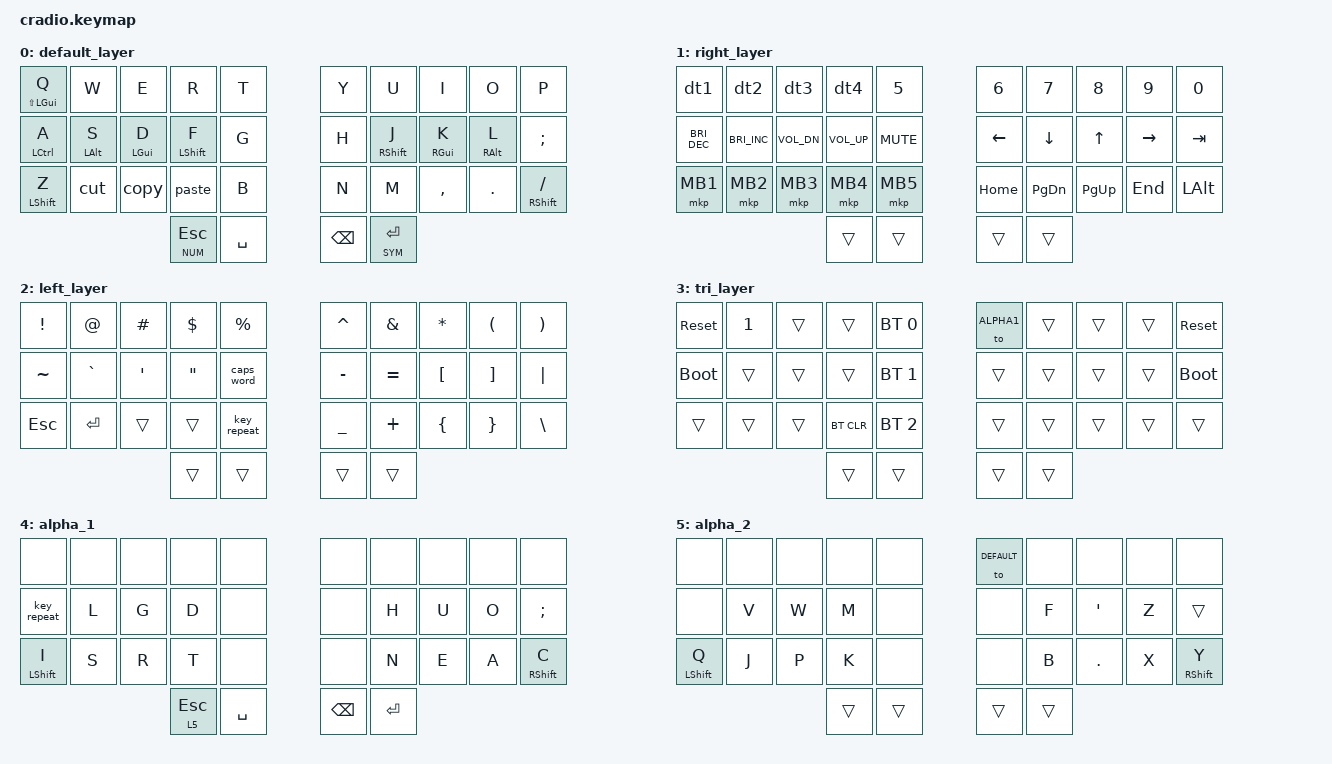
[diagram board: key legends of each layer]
// Copyright (c) 2022 The ZMK Contributors
// SPDX-License-Identifier: MIT

#include <dt-bindings/zmk/mouse.h>
#include <behaviors.dtsi>
#include <dt-bindings/zmk/bt.h>
#include <dt-bindings/zmk/keys.h>
#include <dt-bindings/zmk/pointing.h>

/* Layers */

#define DEFAULT 0
#define NUM 1
#define SYM 2
#define SETTING 3
#define ALPHA1 4
#define ALPHA2 5

// Home row mods macro

#define HRML(k1,k2,k3,k4) &ht LSHFT k1  &ht LALT k2  &ht LCTRL k3  &ht LGUI k4
#define HRMR(k1,k2,k3,k4) &ht RGUI k1  &ht RCTRL k2  &ht RALT k3  &ht RSHFT k4

/ {
    combos {
        // 0  1  2  3  4  ||  5  6  7  8  9
        // 10 11 12 13 14 || 15 16 17 18 19
        // 20 21 22 23 24 || 25 26 27 28 29

        compatible = "zmk,combos";

        combo_esc {
            timeout-ms = <50>;
            key-positions = <16 17>;
            bindings = <&kp ESC>;
        };

        combo_nuke_line {
            timeout-ms = <50>;
            key-positions = <25 26>;
            bindings = <&kp LG(BSPC)>;
        };

        combo_nuke_word {
            timeout-ms = <50>;
            key-positions = <26 27>;
            bindings = <&kp LA(BSPC)>;
        };

        combo_sl_1 {
            timeout-ms = <50>;
            key-positions = <13 14>;
            bindings = <&sl 1>;
        };

        combo_sl_2 {
            timeout-ms = <50>;
            key-positions = <15 16>;
            bindings = <&sl 2>;
        };

        combo_repeat_key {
            timeout-ms = <50>;
            key-positions = <12 13>;
            bindings = <&key_repeat>;
        };
    };

    behaviors {
        ht: hold_tap {
            compatible = "zmk,behavior-hold-tap";
            #binding-cells = <2>;
            flavor = "tap-preferred";
            tapping-term-ms = <250>;
            quick-tap-ms = <150>;
            require-prior-idle-ms = <100>;
            bindings = <&kp>, <&kp>;
        };

        bhm: balanced_homerow_mods {
            compatible = "zmk,behavior-hold-tap";
            #binding-cells = <2>;
            tapping-term-ms = <250>;
            quick-tap-ms = <0>;
            flavor = "balanced";
            bindings = <&kp>, <&kp>;
        };

        cut: tap_dance_0 {
            compatible = "zmk,behavior-tap-dance";
            #binding-cells = <0>;
            tapping-term-ms = <250>;
            bindings = <&kp X>, <&kp LG(X)>;
        };

        copy: tap_dance_1 {
            compatible = "zmk,behavior-tap-dance";
            #binding-cells = <0>;
            tapping-term-ms = <250>;
            bindings = <&kp C>, <&kp LG(C)>;
        };

        paste: tap_dance_2 {
            compatible = "zmk,behavior-tap-dance";
            #binding-cells = <0>;
            tapping-term-ms = <250>;
            bindings = <&kp V>, <&kp LG(V)>;
        };

        dt1: tap_dance_3 {
            compatible = "zmk,behavior-tap-dance";
            #binding-cells = <0>;
            tapping-term-ms = <250>;
            bindings = <&kp N1>, <&kp LC(N1)>;
        };

        dt2: tap_dance_4 {
            compatible = "zmk,behavior-tap-dance";
            #binding-cells = <0>;
            tapping-term-ms = <250>;
            bindings = <&kp N2>, <&kp LC(N2)>;
        };

        dt3: tap_dance_5 {
            compatible = "zmk,behavior-tap-dance";
            #binding-cells = <0>;
            tapping-term-ms = <250>;
            bindings = <&kp N3>, <&kp LC(N3)>;
        };

        dt4: tap_dance_6 {
            compatible = "zmk,behavior-tap-dance";
            #binding-cells = <0>;
            tapping-term-ms = <250>;
            bindings = <&kp N4>, <&kp LC(N4)>;
        };
    };

    conditional_layers {
        compatible = "zmk,conditional-layers";

        tri_layer {
            if-layers = <1 2>;
            then-layer = <3>;
        };
    };

    keymap {
        compatible = "zmk,keymap";

        default_layer {
            bindings = <
&mt LS(LGUI) Q  &kp W        &kp E        &kp R          &kp T        &kp Y     &kp U          &kp I        &kp O        &kp P
&bhm LCTRL A    &bhm LALT S  &bhm LGUI D  &bhm LSHIFT F  &kp G        &kp H     &bhm RSHIFT J  &bhm RGUI K  &bhm RALT L  &kp SEMI
&bhm LSHIFT Z   &cut         &copy        &paste         &kp B        &kp N     &kp M          &kp COMMA    &kp DOT      &bhm RSHIFT FSLH
                                          &lt NUM ESC    &kp SPACE    &kp BSPC  &lt SYM ENTER
            >;
        };

        right_layer {
            bindings = <
&dt1           &dt2           &dt3          &dt4          &kp N5        &kp N6    &kp N7         &kp N8        &kp N9     &kp N0
&kp C_BRI_DEC  &kp C_BRI_INC  &kp C_VOL_DN  &kp C_VOL_UP  &kp C_MUTE    &kp LEFT  &kp DOWN       &kp UP_ARROW  &kp RIGHT  &kp TAB
&mkp MB1       &mkp MB2       &mkp MB3      &mkp MB4      &mkp MB5      &kp HOME  &kp PAGE_DOWN  &kp PAGE_UP   &kp END    &kp LALT
                                            &trans        &trans        &trans    &trans
            >;
        };

        left_layer {
            bindings = <
&kp EXCL   &kp AT     &kp HASH  &kp DLLR  &kp PRCNT      &kp CARET  &kp AMPS   &kp ASTRK  &kp LPAR  &kp RPAR
&kp TILDE  &kp GRAVE  &kp SQT   &kp DQT   &caps_word     &kp MINUS  &kp EQUAL  &kp LBKT   &kp RBKT  &kp PIPE
&kp ESC    &kp ENTER  &trans    &trans    &key_repeat    &kp UNDER  &kp PLUS   &kp LBRC   &kp RBRC  &kp BACKSLASH
                                &trans    &trans         &trans     &trans
            >;
        };

        tri_layer {
            bindings = <
&sys_reset   &kp N1  &trans  &trans      &bt BT_SEL 0    &to ALPHA1  &trans  &trans  &trans  &sys_reset
&bootloader  &trans  &trans  &trans      &bt BT_SEL 1    &trans      &trans  &trans  &trans  &bootloader
&trans       &trans  &trans  &bt BT_CLR  &bt BT_SEL 2    &trans      &trans  &trans  &trans  &trans
                             &trans      &trans          &trans      &trans
            >;
        };

        alpha_1 {
            bindings = <
&none          &none  &none  &none      &none        &none     &none      &none  &none  &none
&key_repeat    &kp L  &kp G  &kp D      &none        &none     &kp H      &kp U  &kp O  &kp SEMI
&bhm LSHIFT I  &kp S  &kp R  &kp T      &none        &none     &kp N      &kp E  &kp A  &bhm RSHIFT C
                             &lt 5 ESC  &kp SPACE    &kp BSPC  &kp ENTER
            >;
        };

        alpha_2 {
            bindings = <
&none          &none  &none  &none   &none     &to DEFAULT  &none   &none    &none  &none
&none          &kp V  &kp W  &kp M   &none     &none        &kp F   &kp SQT  &kp Z  &trans
&bhm LSHIFT Q  &kp J  &kp P  &kp K   &none     &none        &kp B   &kp DOT  &kp X  &bhm RSHIFT Y
                             &trans  &trans    &trans       &trans
            >;
        };
    };
};
